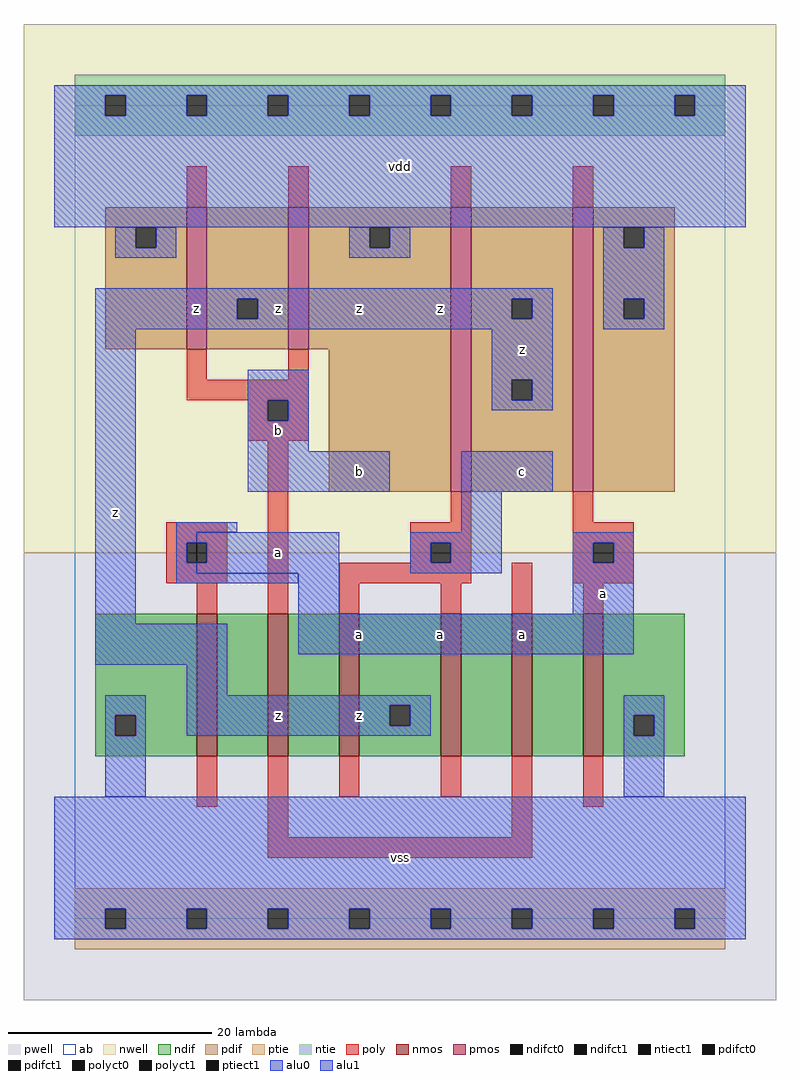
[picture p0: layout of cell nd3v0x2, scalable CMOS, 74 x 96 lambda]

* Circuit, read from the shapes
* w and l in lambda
.subckt nd3v0x2 a b c vdd vss z
M1 n1 a vss vss nfet w=14 l=2
M2 n2 b n1 vss nfet w=14 l=2
M3 z c n2 vss nfet w=14 l=2
M4 n3 c z vss nfet w=14 l=2
M5 n4 b n3 vss nfet w=14 l=2
M6 vss a n4 vss nfet w=14 l=2
M7 z b vdd vdd pfet w=14 l=2 m=2
M8 z c vdd vdd pfet w=28 l=2
M9 vdd a z vdd pfet w=28 l=2
.ends

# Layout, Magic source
magic
tech scmos
<< ab >>
rect 0 0 64 80
<< nwell >>
rect -5 36 69 88
<< pwell >>
rect -5 -8 69 36
<< poly >>
rect 11 70 13 74
rect 21 70 23 74
rect 37 70 39 74
rect 49 70 51 74
rect 11 53 13 56
rect 21 53 23 56
rect 11 51 23 53
rect 17 49 19 51
rect 21 49 23 51
rect 17 47 23 49
rect 9 37 15 39
rect 9 35 11 37
rect 13 35 15 37
rect 9 33 15 35
rect 12 30 14 33
rect 19 30 21 47
rect 37 39 39 42
rect 33 37 39 39
rect 33 35 35 37
rect 37 35 39 37
rect 49 39 51 42
rect 49 37 55 39
rect 49 35 51 37
rect 53 35 55 37
rect 26 33 39 35
rect 26 30 28 33
rect 36 30 38 33
rect 43 30 45 35
rect 49 33 55 35
rect 50 30 52 33
rect 12 11 14 16
rect 19 8 21 16
rect 26 12 28 16
rect 36 12 38 16
rect 43 8 45 16
rect 50 11 52 16
rect 19 6 45 8
<< ndif >>
rect 2 20 12 30
rect 2 18 4 20
rect 6 18 12 20
rect 2 16 12 18
rect 14 16 19 30
rect 21 16 26 30
rect 28 21 36 30
rect 28 19 31 21
rect 33 19 36 21
rect 28 16 36 19
rect 38 16 43 30
rect 45 16 50 30
rect 52 20 60 30
rect 52 18 55 20
rect 57 18 60 20
rect 52 16 60 18
<< pdif >>
rect 3 68 11 70
rect 3 66 6 68
rect 8 66 11 68
rect 3 56 11 66
rect 13 61 21 70
rect 13 59 16 61
rect 18 59 21 61
rect 13 56 21 59
rect 23 68 37 70
rect 23 66 29 68
rect 31 66 37 68
rect 23 56 37 66
rect 25 42 37 56
rect 39 61 49 70
rect 39 59 43 61
rect 45 59 49 61
rect 39 53 49 59
rect 39 51 43 53
rect 45 51 49 53
rect 39 42 49 51
rect 51 68 59 70
rect 51 66 54 68
rect 56 66 59 68
rect 51 61 59 66
rect 51 59 54 61
rect 56 59 59 61
rect 51 42 59 59
<< alu1 >>
rect -2 81 66 82
rect -2 79 3 81
rect 5 79 11 81
rect 13 79 19 81
rect 21 79 27 81
rect 29 79 35 81
rect 37 79 43 81
rect 45 79 51 81
rect 53 79 59 81
rect 61 79 66 81
rect -2 68 66 79
rect 2 61 47 62
rect 2 59 16 61
rect 18 59 43 61
rect 45 59 47 61
rect 2 58 47 59
rect 2 29 6 58
rect 17 51 23 54
rect 17 49 19 51
rect 21 49 23 51
rect 41 53 47 58
rect 41 51 43 53
rect 45 51 47 53
rect 41 50 47 51
rect 17 46 23 49
rect 17 42 31 46
rect 38 42 47 46
rect 38 38 42 42
rect 12 37 26 38
rect 13 35 26 37
rect 12 34 26 35
rect 33 37 42 38
rect 33 35 35 37
rect 37 35 42 37
rect 33 34 42 35
rect 49 37 55 38
rect 49 35 51 37
rect 53 35 55 37
rect 22 30 26 34
rect 49 30 55 35
rect 2 25 15 29
rect 22 26 55 30
rect 11 22 15 25
rect 11 21 35 22
rect 11 19 31 21
rect 33 19 35 21
rect 11 18 35 19
rect -2 1 66 12
rect -2 -1 3 1
rect 5 -1 11 1
rect 13 -1 19 1
rect 21 -1 27 1
rect 29 -1 35 1
rect 37 -1 43 1
rect 45 -1 51 1
rect 53 -1 59 1
rect 61 -1 66 1
rect -2 -2 66 -1
<< ptie >>
rect 0 1 64 3
rect 0 -1 3 1
rect 5 -1 11 1
rect 13 -1 19 1
rect 21 -1 27 1
rect 29 -1 35 1
rect 37 -1 43 1
rect 45 -1 51 1
rect 53 -1 59 1
rect 61 -1 64 1
rect 0 -3 64 -1
<< ntie >>
rect 0 81 64 83
rect 0 79 3 81
rect 5 79 11 81
rect 13 79 19 81
rect 21 79 27 81
rect 29 79 35 81
rect 37 79 43 81
rect 45 79 51 81
rect 53 79 59 81
rect 61 79 64 81
rect 0 77 64 79
<< nmos >>
rect 12 16 14 30
rect 19 16 21 30
rect 26 16 28 30
rect 36 16 38 30
rect 43 16 45 30
rect 50 16 52 30
<< pmos >>
rect 11 56 13 70
rect 21 56 23 70
rect 37 42 39 70
rect 49 42 51 70
<< polyct0 >>
rect 11 35 12 37
<< polyct1 >>
rect 19 49 21 51
rect 12 35 13 37
rect 35 35 37 37
rect 51 35 53 37
<< ndifct0 >>
rect 4 18 6 20
rect 55 18 57 20
<< ndifct1 >>
rect 31 19 33 21
<< ntiect1 >>
rect 3 79 5 81
rect 11 79 13 81
rect 19 79 21 81
rect 27 79 29 81
rect 35 79 37 81
rect 43 79 45 81
rect 51 79 53 81
rect 59 79 61 81
<< ptiect1 >>
rect 3 -1 5 1
rect 11 -1 13 1
rect 19 -1 21 1
rect 27 -1 29 1
rect 35 -1 37 1
rect 43 -1 45 1
rect 51 -1 53 1
rect 59 -1 61 1
<< pdifct0 >>
rect 6 66 8 68
rect 29 66 31 68
rect 54 66 56 68
rect 54 59 56 61
<< pdifct1 >>
rect 16 59 18 61
rect 43 59 45 61
rect 43 51 45 53
<< alu0 >>
rect 4 66 6 68
rect 8 66 10 68
rect 4 65 10 66
rect 27 66 29 68
rect 31 66 33 68
rect 27 65 33 66
rect 52 66 54 68
rect 56 66 58 68
rect 52 61 58 66
rect 52 59 54 61
rect 56 59 58 61
rect 52 58 58 59
rect 10 38 16 39
rect 10 37 12 38
rect 10 35 11 37
rect 10 34 12 35
rect 10 33 22 34
rect 3 20 7 22
rect 3 18 4 20
rect 6 18 7 20
rect 54 20 58 22
rect 54 18 55 20
rect 57 18 58 20
rect 3 12 7 18
rect 54 12 58 18
<< labels >>
rlabel alu1 4 40 4 40 6 z
rlabel alu1 12 60 12 60 6 z
rlabel alu1 20 20 20 20 6 z
rlabel alu1 28 20 28 20 6 z
rlabel alu1 28 28 28 28 6 a
rlabel alu1 20 36 20 36 6 a
rlabel alu1 28 44 28 44 6 b
rlabel alu1 20 48 20 48 6 b
rlabel alu1 20 60 20 60 6 z
rlabel alu1 28 60 28 60 6 z
rlabel alu1 32 6 32 6 6 vss
rlabel alu1 36 28 36 28 6 a
rlabel alu1 44 28 44 28 6 a
rlabel alu1 44 44 44 44 6 c
rlabel alu1 44 56 44 56 6 z
rlabel alu1 36 60 36 60 6 z
rlabel alu1 32 74 32 74 6 vdd
rlabel alu1 52 32 52 32 6 a
<< end >>
